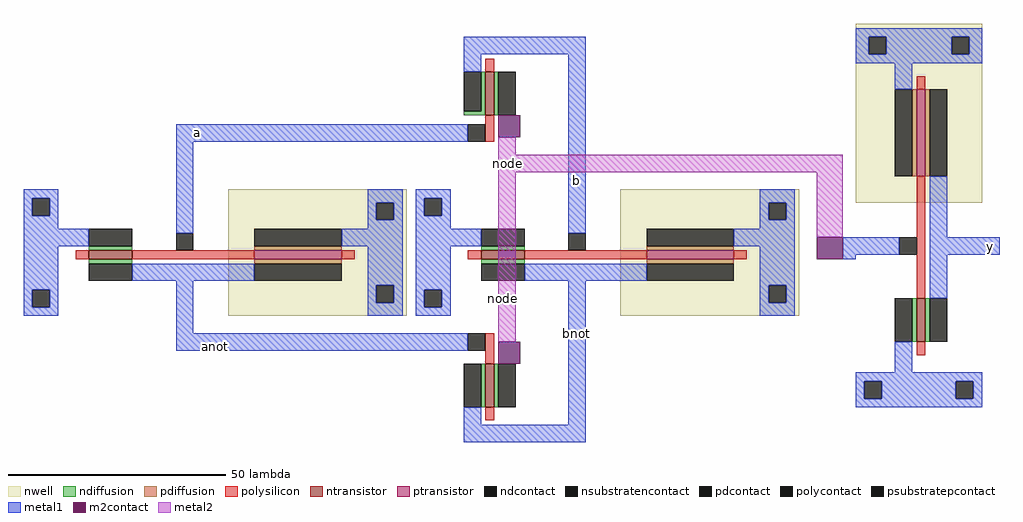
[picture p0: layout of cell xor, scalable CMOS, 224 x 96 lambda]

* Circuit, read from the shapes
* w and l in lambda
.subckt xor Vdd a anot b bnot gnd node y
M1 gnd a anot gnd nfet w=10 l=2
M2 gnd b bnot gnd nfet w=10 l=2
M3 node anot bnot gnd nfet w=10 l=2
M4 node a b gnd nfet w=10 l=2
M5 y node gnd gnd nfet w=10 l=2
M6 Vdd a anot Vdd pfet w=20 l=2
M7 Vdd b bnot Vdd pfet w=20 l=2
M8 y node Vdd Vdd pfet w=20 l=2
.ends

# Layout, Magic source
magic
tech scmos
<< ntransistor >>
rect 106 46 108 56
rect 106 -21 108 -11
<< ndiffusion >>
rect 105 47 106 56
rect 101 46 106 47
rect 108 46 109 56
rect 105 -21 106 -11
rect 108 -21 109 -11
<< ndcontact >>
rect 101 47 105 56
rect 109 46 113 56
rect 101 -21 105 -11
rect 109 -21 113 -11
<< polysilicon >>
rect 106 56 108 59
rect 106 40 108 46
rect 106 -11 108 -4
rect 106 -24 108 -21
<< polycontact >>
rect 102 40 106 44
rect 102 -8 106 -4
<< metal1 >>
rect 101 60 129 64
rect 101 56 105 60
rect 35 40 102 44
rect 35 29 39 40
rect 125 29 129 60
rect 188 13 191 18
rect 220 14 224 18
rect 35 -4 39 0
rect 35 -8 102 -4
rect 101 -25 105 -21
rect 125 -25 129 0
rect 101 -29 129 -25
<< m2contact >>
rect 109 41 114 46
rect 182 13 188 18
rect 109 -11 114 -6
<< metal2 >>
rect 109 37 113 41
rect 109 33 188 37
rect 109 -6 113 33
rect 182 18 188 33
use inverter  inverter_2
transform 1 0 191 0 1 26
box 0 -47 29 41
use inverter  inverter_1
transform 0 1 137 -1 0 29
box 0 -47 29 41
use inverter  inverter_0
transform 0 1 47 -1 0 29
box 0 -47 29 41
<< labels >>
rlabel metal1 40 42 40 42 1 a
rlabel metal1 127 31 127 31 1 b
rlabel metal1 222 16 222 16 7 y
rlabel metal1 44 -7 44 -7 1 anot
rlabel metal1 127 -4 127 -4 1 bnot
rlabel metal2 111 35 111 35 1 node
rlabel metal2 110 4 110 4 1 node
<< end >>

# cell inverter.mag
magic
tech scmos
<< nwell >>
rect 0 0 29 41
<< ntransistor >>
rect 14 -32 16 -22
<< ptransistor >>
rect 14 6 16 26
<< ndiffusion >>
rect 13 -32 14 -22
rect 16 -32 17 -22
<< pdiffusion >>
rect 13 6 14 26
rect 16 6 17 26
<< ndcontact >>
rect 9 -32 13 -22
rect 17 -32 21 -22
<< pdcontact >>
rect 9 6 13 26
rect 17 6 21 26
<< psubstratepcontact >>
rect 2 -45 6 -41
rect 23 -45 27 -41
<< nsubstratencontact >>
rect 3 34 7 38
rect 22 34 26 38
<< polysilicon >>
rect 14 26 16 29
rect 14 -22 16 6
rect 14 -35 16 -32
<< polycontact >>
rect 10 -12 14 -8
<< metal1 >>
rect 0 38 29 40
rect 0 34 3 38
rect 7 34 22 38
rect 26 34 29 38
rect 0 32 29 34
rect 9 26 13 32
rect 17 -8 21 6
rect 0 -12 10 -8
rect 17 -12 29 -8
rect 17 -22 21 -12
rect 9 -39 13 -32
rect 0 -41 29 -39
rect 0 -45 2 -41
rect 6 -45 23 -41
rect 27 -45 29 -41
rect 0 -47 29 -45
<< labels >>
rlabel metal1 5 -10 5 -10 3 IN
rlabel metal1 9 36 9 36 5 Vdd
rlabel metal1 9 -43 9 -43 1 gnd
rlabel metal1 25 -10 25 -10 7 OUT
<< end >>
